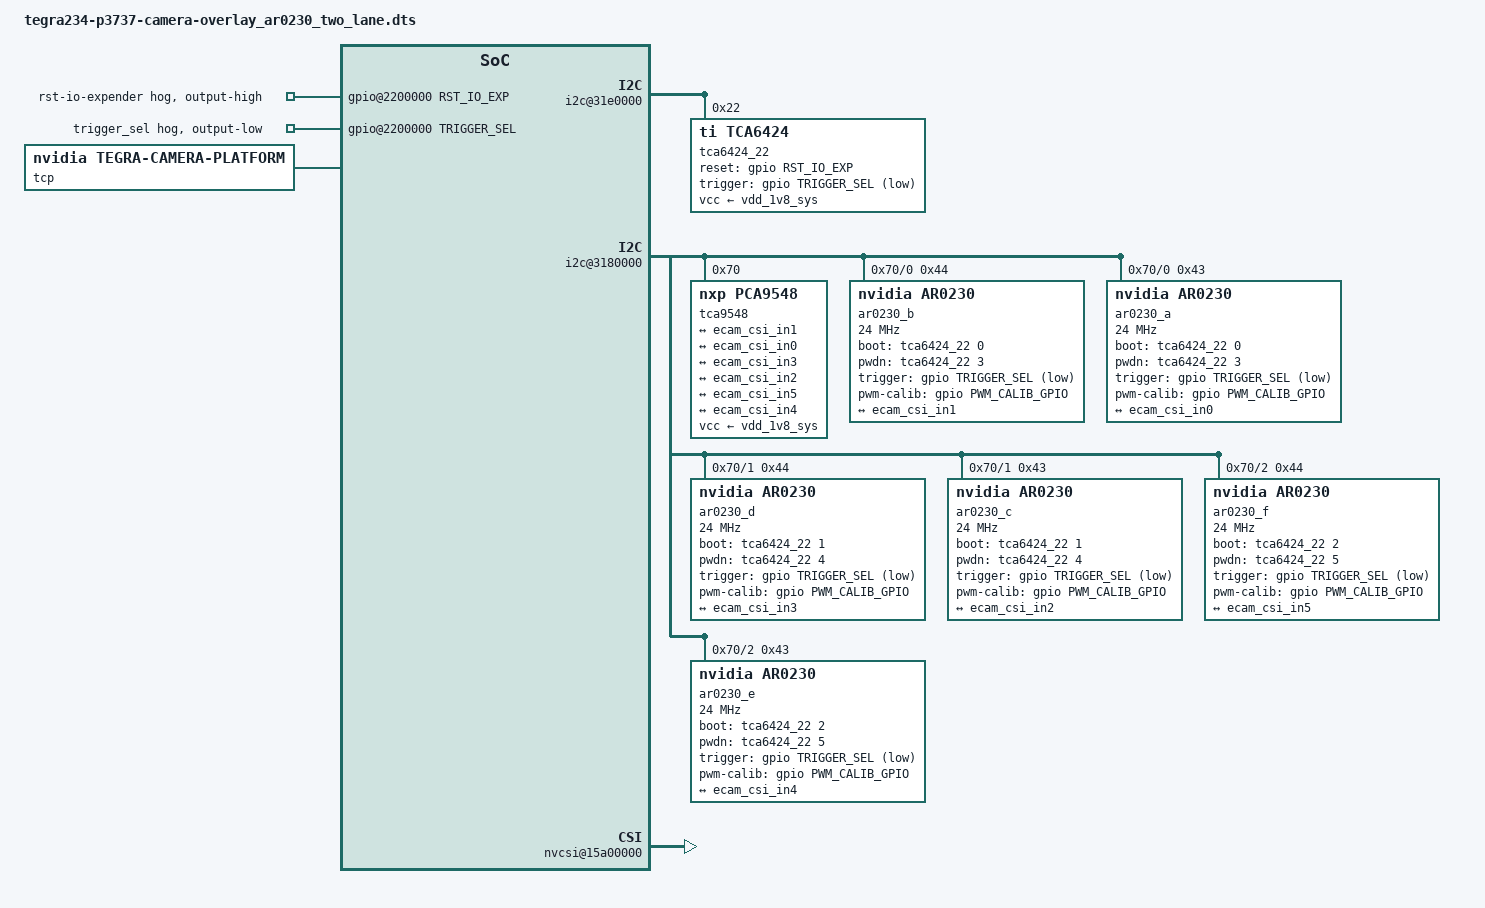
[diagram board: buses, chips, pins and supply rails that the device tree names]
/* SPDX-License-Identifier: GPL-2.0 */
/* Copyright (c) 2017-2023, NVIDIA CORPORATION & AFFILIATES. All rights reserved. */

/dts-v1/;
/plugin/;

#include <dt-bindings/clock/tegra234-clock.h>
#include <dt-bindings/gpio/tegra234-gpio.h>
#include <dt-bindings/tegra234-p3737-0000+p3701-0000.h>

#define RST_IO_EXP     TEGRA234_MAIN_GPIO(AC, 1)
#define PWM_CALIB_GPIO	TEGRA234_MAIN_GPIO(H, 6)
#define TRIGGER_SEL	TEGRA234_MAIN_GPIO(H, 3) 

#define CAM_LANES 2
#define CAM_LANES_STRING "2"

/ {
	overlay-name = "Jetson Camera STURDECAM20-AR0230";
	jetson-header-name = "Jetson AGX CSI Connector";
	compatible = JETSON_COMPATIBLE;

    	fragment@0 {
			target-path = "/";
			__overlay__ {
	bus@0 {
		gpio@2200000 {
			camera-control-output-high {
                        status = "okay";
                        gpio-hog;
                        gpios = <RST_IO_EXP 0>;
                        output-high;
                        label = "rst-io-expender";
                };
		camera-control-output-low {
                        status = "okay";
			gpio-hog;
			gpios = <TRIGGER_SEL 0>;
			output-low;
			label = "trigger_sel";
		    };
	    };
	i2c@31e0000 {
		status = "okay";
		#address-cells = <1>;
		#size-cells = <0>;
		tca6424_22: tca6424@22 {
			compatible = "ti,tca6424";
			gpio-controller;
			#gpio-cells = <2>;
			reg = <0x22>;
            		vcc-supply = <&vdd_1v8_sys>;
			reset = <&gpio RST_IO_EXP GPIO_ACTIVE_HIGH>;
			trigger-gpios = <&gpio TRIGGER_SEL GPIO_ACTIVE_LOW>;
			status = "okay";
		};
	};


	i2c@3180000 {
		status = "okay";
		#address-cells = <1>;
		#size-cells = <0>;
		tca9548@70 {
			status = "okay";
            		compatible = "nxp,pca9548";
			reg = <0x70>;
			#address-cells = <1>;
			#size-cells = <0>;
			vcc-supply = <&vdd_1v8_sys>;
			skip_mux_detect;
			force_bus_start = <0x1e>;
			i2c@0 {
				status = "okay";
				reg = <0>;
				i2c-mux,deselect-on-exit;
				#address-cells = <1>;
				#size-cells = <0>;
				ar0230_b@44 {
					status = "okay";
					compatible = "nvidia,ar0230";
					reg = <0x44>;
					sensor_model ="ar0230";
					dev_name = "ecam_gmsl 9-0044";
					mcu_fw_name = "ar0230_mcu_fw.bin";
					avdd-reg = "vana";
					iovdd-reg = "vif";
					clocks = <&bpmp TEGRA234_CLK_EXTPERIPH1>,
							 <&bpmp TEGRA234_CLK_EXTPERIPH1>;
					clock-names = "extperiph1", "pllp_grtba";
					mclk = "extperiph1";
					clock-frequency = <24000000>;
					boot-gpios = <&tca6424_22 0 GPIO_ACTIVE_HIGH>;
					pwdn-gpios = <&tca6424_22 3 GPIO_ACTIVE_HIGH>;
					trigger-gpios = <&gpio TRIGGER_SEL GPIO_ACTIVE_LOW>;
					default-trigger = "internal"; 
					//vana-supply = <&p3737_avdd_cam_2v8>;
					//vif-supply = <&vdd_1v8_sys>;
					use_sensor_mode_id = "false";
					camera_mipi_lanes = <CAM_LANES>;
					camera-mipi-clk = <1200>;	
					sio-port = "B";
					pwm-invert= <1>;
                                        pwm-duty_ns = <0x1F191B7>;
                                        pwm-period_ns = <0x228DACC>;
                                        pwm-calib-gpio = <&gpio PWM_CALIB_GPIO GPIO_ACTIVE_HIGH>;
                                        pwm-name = "ecam-trigger";
#define TEGRA_SINTERFACE "serial_b"
#include "ar0230_cuxvr_mode.dtsi"	
					ports {
						status = "okay";
						#address-cells = <1>;
						#size-cells = <0>;
						port@0 {
							status = "okay";
							reg = <0>;
							ecam_ar0230_out1: endpoint {
								status = "okay";
								port-index = <1>;
								bus-width = <CAM_LANES>;
								remote-endpoint = <&ecam_csi_in1>;
							};
						};
					};
				};
				ar0230_a@43 {
					status = "okay";
					compatible = "nvidia,ar0230";
					reg = <0x43>;
					sensor_model ="ar0230";
					dev_name = "ecam_gmsl 9-0043";
					mcu_fw_name = "ar0230_mcu_fw.bin";
					avdd-reg = "vana";
					iovdd-reg = "vif";
					clocks = <&bpmp TEGRA234_CLK_EXTPERIPH1>,
							 <&bpmp TEGRA234_CLK_EXTPERIPH1>;
					clock-names = "extperiph1", "pllp_grtba";
					mclk = "extperiph1";
					clock-frequency = <24000000>;
					boot-gpios = <&tca6424_22 0 GPIO_ACTIVE_HIGH>;
					pwdn-gpios = <&tca6424_22 3 GPIO_ACTIVE_HIGH>;
					trigger-gpios = <&gpio TRIGGER_SEL GPIO_ACTIVE_LOW>;
					default-trigger = "internal"; 
					//vana-supply = <&p3737_avdd_cam_2v8>;
					//vif-supply = <&vdd_1v8_sys>;
					use_sensor_mode_id = "false";
					camera_mipi_lanes = <CAM_LANES>;
					camera-mipi-clk = <1200>;	
					sio-port = "A";
					pwm-invert= <1>;
					pwm-duty_ns = <0x1F191B7>;
					pwm-period_ns = <0x228DACC>;
					pwm-calib-gpio = <&gpio PWM_CALIB_GPIO GPIO_ACTIVE_HIGH>;
					pwm-name = "ecam-trigger";	
#undef TEGRA_SINTERFACE	
#define TEGRA_SINTERFACE "serial_a"
#include "ar0230_cuxvr_mode.dtsi"	
					ports {
						status = "okay";
						#address-cells = <1>;
						#size-cells = <0>;
						port@0 {
							status = "okay";
							reg = <0>;
							ecam_ar0230_out0: endpoint {
								status = "okay";
								port-index = <0>;
								bus-width = <CAM_LANES>;
								remote-endpoint = <&ecam_csi_in0>;
							};
						};
					};
				};
				};
			i2c@1 {
                               status = "okay";
                               reg = <1>;
                               i2c-mux,deselect-on-exit;
                               #address-cells = <1>;
                               #size-cells = <0>;
                               ar0230_d@44 {
					status = "okay";
					compatible = "nvidia,ar0230";
					reg = <0x44>;
					sensor_model ="ar0230";
					dev_name = "ecam_gmsl 10-0044";
					mcu_fw_name = "ar0230_mcu_fw.bin";
					avdd-reg = "vana";
					iovdd-reg = "vif";
					//vana-supply = <&p3737_avdd_cam_2v8>;
					//vif-supply = <&vdd_1v8_sys>;
					clocks = <&bpmp TEGRA234_CLK_EXTPERIPH1>,
						<&bpmp TEGRA234_CLK_EXTPERIPH1>;
					clock-names = "extperiph1", "pllp_grtba";
					mclk = "extperiph1";
					clock-frequency = <24000000>;
					boot-gpios = <&tca6424_22 1 GPIO_ACTIVE_HIGH>;
					pwdn-gpios = <&tca6424_22 4 GPIO_ACTIVE_HIGH>;
					trigger-gpios = <&gpio TRIGGER_SEL GPIO_ACTIVE_LOW>; 
					use_sensor_mode_id = "false";
					camera_mipi_lanes = <CAM_LANES>;
					camera-mipi-clk = <1200>;	
					sio-port = "B";
					pwm-invert= <1>;
					pwm-duty_ns = <0x1F191B7>;
					pwm-period_ns = <0x228DACC>;
					pwm-calib-gpio = <&gpio PWM_CALIB_GPIO GPIO_ACTIVE_HIGH>;
					pwm-name = "ecam-trigger";
#undef TEGRA_SINTERFACE
#define TEGRA_SINTERFACE "serial_d"
#include "ar0230_cuxvr_mode.dtsi"
					ports {
						status = "okay";
						#address-cells = <1>;
						#size-cells = <0>;
						port@0 {
							status = "okay";
                                                       reg = <0>;
                                                       ecam_ar0230_out3: endpoint {
                                                               status = "okay";
                                                               port-index = <3>;
                                                               bus-width = <CAM_LANES>;
                                                               remote-endpoint = <&ecam_csi_in3>;
                                                       };
                                               };
                                       };
                               };

			ar0230_c@43 {
                                        status = "okay";
                                        compatible = "nvidia,ar0230";
                                        reg = <0x43>;
                                        sensor_model ="ar0230";
					dev_name = "ecam_gmsl 10-0043";
					mcu_fw_name = "ar0230_mcu_fw.bin";
					avdd-reg = "vana";
					iovdd-reg = "vif";
					//vana-supply = <&p3737_avdd_cam_2v8>;
					//vif-supply = <&vdd_1v8_sys>;
					clocks = <&bpmp TEGRA234_CLK_EXTPERIPH1>,
						<&bpmp TEGRA234_CLK_EXTPERIPH1>;
					clock-names = "extperiph1", "pllp_grtba";
					mclk = "extperiph1";
					clock-frequency = <24000000>;
					boot-gpios = <&tca6424_22 1 GPIO_ACTIVE_HIGH>;
					pwdn-gpios = <&tca6424_22 4 GPIO_ACTIVE_HIGH>;
					trigger-gpios = <&gpio TRIGGER_SEL GPIO_ACTIVE_LOW>; 
					use_sensor_mode_id = "false";
					camera_mipi_lanes = <CAM_LANES>;
					camera-mipi-clk = <1200>;	
					sio-port = "A";
					pwm-invert= <1>;
					pwm-duty_ns = <0x1F191B7>;
					pwm-period_ns = <0x228DACC>;
					pwm-calib-gpio = <&gpio PWM_CALIB_GPIO GPIO_ACTIVE_HIGH>;
					pwm-name = "ecam-trigger";
#undef TEGRA_SINTERFACE
#define TEGRA_SINTERFACE "serial_c"
#include "ar0230_cuxvr_mode.dtsi"
                                       ports {
                                       status = "okay";
                                       #address-cells = <1>;
                                       #size-cells = <0>;
                                               port@0 {
                                                       status = "okay";
                                                       reg = <0>;
                                                       ecam_ar0230_out2: endpoint {
                                                               status = "okay";
                                                               port-index = <2>;
                                                               bus-width = <CAM_LANES>;
                                                               remote-endpoint = <&ecam_csi_in2>;
                                                       };
                                               };
                                       };
                               };
			};

                       i2c@2 {
                               status = "okay";
                               reg = <2>;
                               i2c-mux,deselect-on-exit;
                               #address-cells = <1>;
                               #size-cells = <0>;
                               ar0230_f@44 {
					status = "okay";
					compatible = "nvidia,ar0230";
					reg = <0x44>;
					sensor_model ="ar0230";
					dev_name = "ecam_gmsl 11-0044";
					mcu_fw_name = "ar0230_mcu_fw.bin";
					avdd-reg = "vana";
					iovdd-reg = "vif";
					//vana-supply = <&p3737_avdd_cam_2v8>;
					//vif-supply = <&vdd_1v8_sys>;
					clocks = <&bpmp TEGRA234_CLK_EXTPERIPH1>,
						<&bpmp TEGRA234_CLK_EXTPERIPH1>;
					clock-names = "extperiph1", "pllp_grtba";
					mclk = "extperiph1";
					clock-frequency = <24000000>;
					boot-gpios = <&tca6424_22 2 GPIO_ACTIVE_HIGH>;
					pwdn-gpios = <&tca6424_22 5 GPIO_ACTIVE_HIGH>;
					trigger-gpios = <&gpio TRIGGER_SEL GPIO_ACTIVE_LOW>; 
					use_sensor_mode_id = "false";
					camera_mipi_lanes = <CAM_LANES>;
					camera-mipi-clk = <1200>;	
					sio-port = "B";
					pwm-invert = <1>;
					pwm-duty_ns = <0x1F191B7>;
					pwm-period_ns = <0x228DACC>;
					pwm-calib-gpio = <&gpio PWM_CALIB_GPIO GPIO_ACTIVE_HIGH>;
					pwm-name = "ecam-trigger";
#undef TEGRA_SINTERFACE
#define TEGRA_SINTERFACE "serial_f"
#include "ar0230_cuxvr_mode.dtsi"
                                       ports {
                                       status = "okay";
                                       #address-cells = <1>;
                                       #size-cells = <0>;
                                               port@0 {
                                                       status = "okay";
                                                       reg = <0>;
                                                       ecam_ar0230_out5: endpoint {
                                                               status = "okay";
                                                               port-index = <6>;
                                                               bus-width = <CAM_LANES>;
                                                               remote-endpoint = <&ecam_csi_in5>;
                                                       };
                                               };
                                       };
				};
				ar0230_e@43 {
					status = "okay";
					compatible = "nvidia,ar0230";
					reg = <0x43>;
					sensor_model ="ar0230";
					dev_name = "ecam_gmsl 11-0043";
					mcu_fw_name = "ar0230_mcu_fw.bin";
                                        avdd-reg = "vana";
                                        iovdd-reg = "vif";
					//vana-supply = <&p3737_avdd_cam_2v8>;
					//vif-supply = <&vdd_1v8_sys>;
					clocks = <&bpmp TEGRA234_CLK_EXTPERIPH1>,
						<&bpmp TEGRA234_CLK_EXTPERIPH1>;
                                        clock-names = "extperiph1", "pllp_grtba";
                                        mclk = "extperiph1";
                                        clock-frequency = <24000000>;
                                        boot-gpios = <&tca6424_22 2 GPIO_ACTIVE_HIGH>;
					pwdn-gpios = <&tca6424_22 5 GPIO_ACTIVE_HIGH>;
					trigger-gpios = <&gpio TRIGGER_SEL GPIO_ACTIVE_LOW>; 
                                        use_sensor_mode_id = "false";
                                        camera_mipi_lanes = <CAM_LANES>;
				                        camera-mipi-clk = <1200>;	
                                        sio-port = "A";
					pwm-invert= <1>;
					pwm-duty_ns = <0x1F191B7>;
                                        pwm-period_ns = <0x228DACC>;
                                        pwm-calib-gpio = <&gpio PWM_CALIB_GPIO GPIO_ACTIVE_HIGH>;
                                        pwm-name = "ecam-trigger";
#undef TEGRA_SINTERFACE
#define TEGRA_SINTERFACE "serial_e"
#include "ar0230_cuxvr_mode.dtsi"
                                       ports {
                                       status = "okay";
                                       #address-cells = <1>;
                                       #size-cells = <0>;
                                               port@0 {
                                                       status = "okay";
                                                       reg = <0>;
                                                       ecam_ar0230_out4: endpoint {
                                                               status = "okay";
                                                               port-index = <4>;
                                                               bus-width = <CAM_LANES>;
                                                               remote-endpoint = <&ecam_csi_in4>;
                                                       };
                                               };
                                       };
                               };
			};
		};
	};
	

	host1x@13e00000 {

		nvcsi@15a00000 {
			num-channels = <6>;
			#address-cells = <1>;
			#size-cells = <0>;
			status = "okay";
			channel@0 {
				reg = <0>;
				status = "okay";
				ports {
                    			status = "okay";
					#address-cells = <1>;
					#size-cells = <0>;
					port@0 {
						reg = <0>;
						status = "okay";
						ecam_csi_in0: endpoint@0 {
							status = "okay";
							port-index = <0>;
							bus-width = <CAM_LANES>;
							remote-endpoint = <&ecam_ar0230_out0>;
						};
					};
					port@1 {
						reg = <1>;
						status = "okay";
						ecam_csi_out0: endpoint@1 {
							status = "okay";
							remote-endpoint = <&ecam_vi_in0>;
						};
					};
				};
			};
            channel@1 {
		reg = <1>;
		status = "okay";
		ports {
                    status = "okay";
                    #address-cells = <1>;
                    #size-cells = <0>;
                    port@0 {
			reg = <0>;
			status = "okay";
                     	ecam_csi_in1: endpoint@2 {
			     status = "okay";
                            port-index = <1>;
                            bus-width = <CAM_LANES>;
                            remote-endpoint = <&ecam_ar0230_out1>;
                        };
                    };
                    port@1 {
			reg = <1>;
			status = "okay";
                       ecam_csi_out1: endpoint@3 {
				status = "okay";
                            	remote-endpoint = <&ecam_vi_in1>;
                        };
                    };
                };
            };
            channel@2 {
               	reg = <2>;
			status = "okay";
                       ports {
				status = "okay";
                             	#address-cells = <1>;
                             	#size-cells = <0>;
				port@0 {
                                  	reg = <0>;
					status = "okay";
                                       ecam_csi_in2: endpoint@4 {
							  status = "okay";
                                                        port-index = <2>;
                                                        bus-width = <CAM_LANES>;
                                                        remote-endpoint = <&ecam_ar0230_out2>;
                                                };
                                        };
                                        port@1 {
                                                reg = <1>;
						  status = "okay";
                                                ecam_csi_out2: endpoint@5 {
							  status = "okay";
                                                        remote-endpoint = <&ecam_vi_in2>;
                                                };
                                        };
                                };
                        };

			channel@3 {
                                reg = <3>; 
				 status = "okay";
                                ports {
                                        status = "okay";
                                        #address-cells = <1>;
                                        #size-cells = <0>;
                                        port@0 {
                                                reg = <0>;
						  status = "okay";
                                                ecam_csi_in3: endpoint@6 {
							  status = "okay";
                                                        port-index = <3>;
                                                        bus-width = <CAM_LANES>;
                                                        remote-endpoint = <&ecam_ar0230_out3>;
                                                };
                                        };
                                        port@1 {
                                                reg = <1>;
						  status = "okay";
                                                ecam_csi_out3: endpoint@7 {
							  status = "okay";
                                                        remote-endpoint = <&ecam_vi_in3>;
                                                };
                                        };
                                };
                        };
			channel@4 {
                                reg = <4>;
				 status = "okay";
                                ports {
                                        status = "okay";
                                        #address-cells = <1>;
                                        #size-cells = <0>;
                                        port@0 {
                                                reg = <0>;
						  status = "okay";
                                                ecam_csi_in4: endpoint@8 {
							  status = "okay";
                                                        port-index = <4>;
                                                        bus-width = <CAM_LANES>;
                                                        remote-endpoint = <&ecam_ar0230_out4>;
                                                };
                                        };
                                        port@1 {
                                                reg = <1>;
						  status = "okay";
                                                ecam_csi_out4: endpoint@9 {
							status = "okay";
                                                	remote-endpoint = <&ecam_vi_in4>;
                                                };
                                        };
                                };
                        };
			channel@5 {
				reg = <5>;
				status = "okay";
				ports {
                   		 	status = "okay";
					#address-cells = <1>;
					#size-cells = <0>;
					port@0 {
						reg = <0>;
						status = "okay";
						ecam_csi_in5: endpoint@10 {
							status = "okay";
							port-index = <6>;
							bus-width = <CAM_LANES>;
							remote-endpoint = <&ecam_ar0230_out5>;
						};
					};
					port@1 {
						reg = <1>;
						status = "okay";
						ecam_csi_out5: endpoint@11 {
							status = "okay";
							remote-endpoint = <&ecam_vi_in5>;
						};
					};
				};
			};
		};
	};
};	

// all cameras are disabled by default 
    capture_vi_base: tegra-capture-vi  {
			num-channels = <6>;
			#address-cells = <1>;
			#size-cells = <0>;
			status = "okay";
			ports {
				#address-cells = <1>;
				#size-cells = <0>;	
				status = "okay";
				port@0 {
					reg = <0>;
					status = "okay";
					ecam_vi_in0: endpoint {
						status = "okay";
				 		port-index = <0>;
				 		bus-width = <CAM_LANES>;
				 		remote-endpoint = <&ecam_csi_out0>;
			 		};
				};
				port@1 {
					reg = <1>;
					status = "okay";
					ecam_vi_in1: endpoint {
						status = "okay";
				 		port-index = <1>;
				 		bus-width = <CAM_LANES>;
				 		remote-endpoint = <&ecam_csi_out1>;
			 		};
				};
				port@2 {
					reg = <2>;
					status = "okay";
					ecam_vi_in2: endpoint {
						status = "okay";
						port-index = <2>;
				 		bus-width = <CAM_LANES>;
				 		remote-endpoint = <&ecam_csi_out2>;
			 		};
				};
				port@3 {
					reg = <3>;
					status = "okay";
					ecam_vi_in3: endpoint {
						status = "okay";
		   				port-index = <3>;
						bus-width = <CAM_LANES>;
						remote-endpoint = <&ecam_csi_out3>;				
					};
				};
				 port@4 {
				    reg = <4>;
				    ecam_vi_in4: endpoint {
							    status= "okay";
				        port-index = <4>;
				        bus-width = <CAM_LANES>;
				        remote-endpoint = <&ecam_csi_out4>;
				    };
				};
				port@5 {
				    reg = <5>;
				    ecam_vi_in5: endpoint {
							status= "okay";
				        port-index = <5>;
				        bus-width = <CAM_LANES>;
				        remote-endpoint = <&ecam_csi_out5>;
				    };
				};
			};
		};
        

	 tcp: tegra-camera-platform {
		status = "okay";
		compatible = "nvidia, tegra-camera-platform";
		num_csi_lanes = <16>;
		max_lane_speed = <2500000>;
		min_bits_per_pixel = <16>;
		vi_peak_byte_per_pixel = <2>;
		vi_bw_margin_pct = <67>;
		max_pixel_rate = <750000>;
		isp_peak_byte_per_pixel = <5>;
		isp_bw_margin_pct = <25>;

		modules {
			status = "okay";
			module0 {
				badge = "nilecam20_cuxvr";
				position = "bottomleft";
				orientation = "1";
				status = "okay";
                		drivernode0 {
					pcl_id = "v4l2_sensor";
					devname = "ecam_gmsl 9-0043";
					sysfs-device-tree = "/sys/firmware/devicetree/base/bus@0/i2c@3180000/tca9548@70/i2c@0/ar0230_a@43";
					status = "okay";
				};
			};
			module1 {
				badge = "nilecam20_cuxvr";
				position = "bottomright";
				orientation = "1";
				status = "okay";
                		drivernode0 {
					pcl_id = "v4l2_sensor";
					devname = "ecam_gmsl 9-0044";
					sysfs-device-tree = "/sys/firmware/devicetree/base/bus@0/i2c@3180000/tca9548@70/i2c@0/ar0230_b@44";
					status = "okay";
				};
			};		
			module2 {
				badge = "nilecam20_cuxvr";
				position = "centerleft";
				orientation = "1";
			    	status = "okay";
                		drivernode0 {
					pcl_id = "v4l2_sensor";
					devname = "ecam_gmsl 10-0043";
					sysfs-device-tree = "/sys/firmware/devicetree/base/bus@0/i2c@3180000/tca9548@70/i2c@1/ar0230_c@43";
					status = "okay";
				};
			};
			module3 {
				badge = "nilecam20_cuxvr";
				position = "centerright";
				orientation = "1";
                		status = "okay";
				drivernode0 {
					pcl_id = "v4l2_sensor";
					devname = "ecam_gmsl 10-0044";
					sysfs-device-tree = "/sys/firmware/devicetree/base/bus@0/i2c@3180000/tca9548@70/i2c@1/ar0230_d@44";
					status = "okay";
				};
			};
			module4 {
				badge = "nilecam20_cuxvr";
				position = "topleft";
				orientation = "1";
                		status = "okay";
				drivernode0 {
					pcl_id = "v4l2_sensor";
					devname = "ecam_gmsl 11-0043";
					sysfs-device-tree = "/sys/firmware/devicetree/base/bus@0/i2c@3180000/tca9548@70/i2c@2/ar0230_e@43";
					status = "okay";
				};
			};
			module5 {
				badge = "nilecam20_cuxvr";
				position = "topright";
				orientation = "1";
                		status = "okay";
				drivernode0 {
					pcl_id = "v4l2_sensor";
					devname = "ecam_gmsl 11-0044";
					sysfs-device-tree = "/sys/firmware/devicetree/base/bus@0/i2c@3180000/tca9548@70/i2c@2/ar0230_f@44";
					status = "okay";
				};
			};
		};
	};
		};
	};
};
